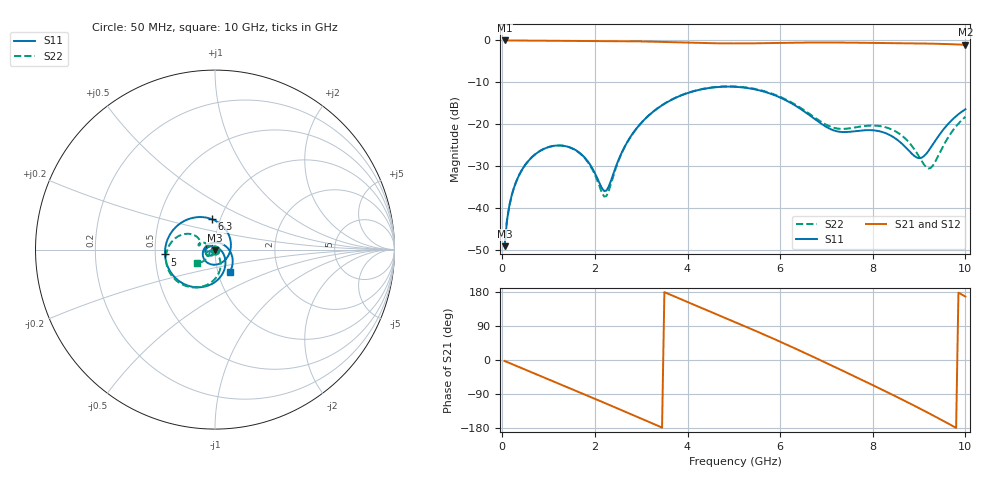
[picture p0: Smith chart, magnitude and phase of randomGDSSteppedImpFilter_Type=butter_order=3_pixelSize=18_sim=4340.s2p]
! freq	dB(S11)	phase(S11)	dB(S12)	phase(S12)
!  dB(S21)	phase(S21)	dB(S22)	phase(S22)
!S-par simulation data
#  GHz  S  DB  R 50
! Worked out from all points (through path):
!   200 points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, 50 MHz to 10 GHz, reference 50 ohm
!   highest |S21| = -0.01 dB at 50 MHz (marker M1); lowest = -1.0 dB at 10 GHz (marker M2)
!   group delay of S21, straight-line fit = 151 ps
!   lowest |S11| = -49.1 dB at 50 MHz (marker M3), VSWR 1.01, Z = 50 - j0.35 ohm
!   |S11| at or under -10 dB: start of sweep to end of sweep
!   |S22| runs from -49.1 to -11.0 dB; largest |S21 - S12| = 0
!   S11 on the Smith chart (normalised r, x): 50 MHz: 1.00, -0.01; 5 GHz: 0.56, -0.03; 6.3 GHz: 0.91, +0.32; 10 GHz: 1.14, -0.30
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0.05  -49.11 -87.6  -0.01 -2.6  -0.01 -2.6  -49.10 -87.1
0.1  -43.08 -93.0  -0.01 -5.2  -0.01 -5.2  -43.07 -92.2
0.2  -37.12 -100.0  -0.02 -10.3  -0.02 -10.3  -37.11 -98.3
0.55  -28.93 -120.6  -0.04 -28.2  -0.04 -28.2  -28.92 -115.9
1.15  -25.12 -155.8  -0.08 -58.8  -0.08 -58.8  -25.11 -143.9
1.75  -27.62 162.8  -0.11 -89.5  -0.11 -89.5  -27.73 -165.8
2.25  -35.83 55.2  -0.13 -115.4  -0.13 -115.4  -37.14 -105.6
2.7  -24.23 -33.3  -0.18 -138.9  -0.18 -138.9  -24.30 -63.5
3.4  -15.84 -81.6  -0.34 -175.7  -0.34 -175.7  -15.81 -89.7
4.1  -12.23 -122.6  -0.55 147.8  -0.55 147.8  -12.18 -121.5
5  -11.06 -174.5  -0.71 101.4  -0.71 101.4  -10.98 -161.6
5.05  -11.09 -177.5  -0.71 98.8  -0.71 98.8  -11.00 -163.8
5.65  -12.22 144.8  -0.66 67.2  -0.66 67.2  -12.09 171.3
6.3  -15.37 95.9  -0.54 31.7  -0.54 31.7  -15.15 149.7
6.7  -18.39 55.9  -0.49 9.1  -0.49 9.1  -18.04 144.7
7.45  -21.86 -50.7  -0.52 -34.1  -0.52 -34.1  -21.05 163.2
7.9  -21.40 -106.6  -0.58 -60.4  -0.58 -60.4  -20.35 164.1
8.35  -22.49 -154.3  -0.63 -87.2  -0.63 -87.2  -20.99 154.1
8.95  -27.95 109.7  -0.71 -123.9  -0.71 -123.9  -26.86 149.4
9.2  -26.42 44.9  -0.75 -139.7  -0.75 -139.7  -30.57 -177.5
9.6  -20.27 -17.1  -0.87 -165.8  -0.87 -165.8  -23.65 -132.7
10  -16.44 -57.4  -1.04 167.4  -1.04 167.4  -18.22 -142.7
